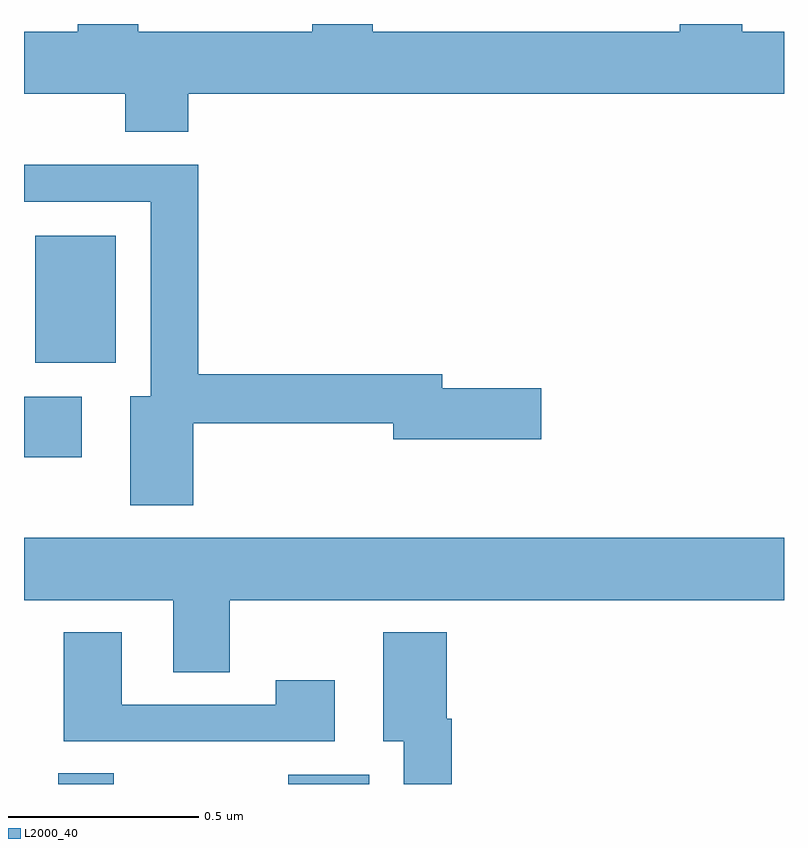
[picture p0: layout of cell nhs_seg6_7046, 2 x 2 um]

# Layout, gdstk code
import gdstk
lib = gdstk.Library(unit=1e-6, precision=1e-09)
def R(c, l, rs):  # rectangles x0, y0, x1, y1
    for r in rs: c.add(gdstk.rectangle(r[:2], r[2:], *l))
def P(c, l, *ps):  # polygons
    for p in ps: c.add(gdstk.Polygon(p, *l))
L2000_40 = (2000, 40)

nhs_seg6_7046 = lib.new_cell('nhs_seg6_7046')
R(nhs_seg6_7046, L2000_40, [(203.09,965.5,203.236,965.528), (203.696,965.5,203.908,965.524), (203,966.36,203.152,966.519), (203.03,966.608,203.242,966.943)])
P(nhs_seg6_7046, L2000_40, [(203.432,967.316),(205,967.316),(205,967.48),(204.89,967.48),(204.89,967.5),(204.725,967.5),(204.725,967.48),(203.918,967.48),(203.918,967.5),(203.758,967.5),(203.758,967.48),(203.301,967.48),(203.301,967.5),(203.141,967.5),(203.141,967.48),(203,967.48),(203,967.316),(203.267,967.316),(203.267,967.217),(203.432,967.217)],
  [(203.446,966.45),(203.972,966.45),(203.972,966.407),(204.361,966.407),(204.361,966.542),(204.1,966.542),(204.1,966.578),(203.459,966.578),(203.459,967.13),(203,967.13),(203,967.032),(203.333,967.032),(203.333,966.52),(203.279,966.52),(203.279,966.234),(203.446,966.234)],
  [(203.541,965.984),(205,965.984),(205,966.148),(203,966.148),(203,965.984),(203.393,965.984),(203.393,965.794),(203.541,965.794)],
  [(203.818,965.773),(203.662,965.773),(203.662,965.709),(203.257,965.709),(203.257,965.899),(203.105,965.899),(203.105,965.613),(203.818,965.613)],
  [(204.125,965.672),(204.112,965.672),(204.112,965.899),(203.945,965.899),(203.945,965.612),(203.999,965.612),(203.999,965.5),(204.125,965.5)])

lib.write_gds('nhs_seg6_7046.gds')
